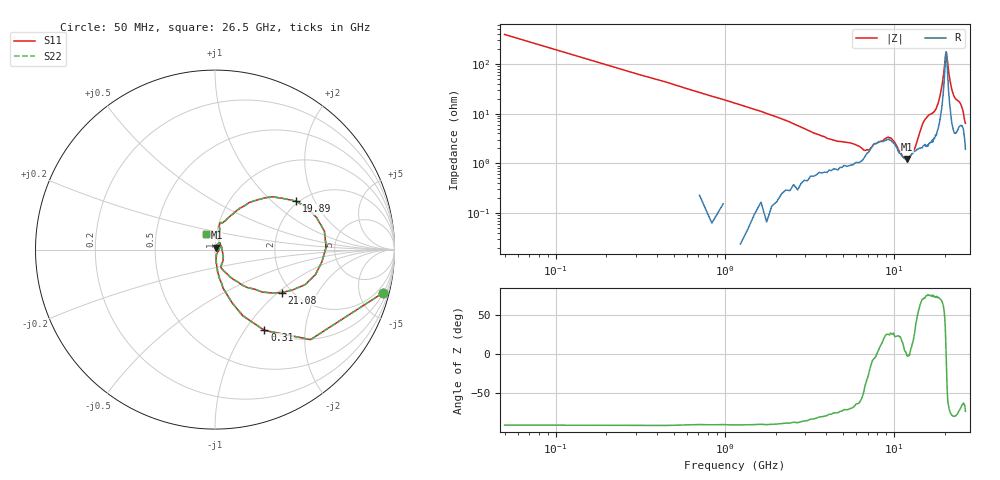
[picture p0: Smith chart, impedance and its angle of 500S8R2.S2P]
!  American Technical Ceramics  Date:  3/6/98
!  One Norden Lane
!  Huntington Station,  NY.  11746-2102
!  Tel:  (516) 547-5700  Fax:  (516) 547-5748
!  Part Number  500S8R2
!  Description: Broadband Microwave capacitor
!  Application:
# GHZ S DB R 50
! Freq  |S11|  S11 Ph  |S21|  S21 Ph  |S12|  S12 Ph  |S22|  S22 Ph
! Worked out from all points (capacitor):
!   201 points, 50 MHz to 26.5 GHz, reference 50 ohm
!   read as one part in series: C = 8.25 pF near 180 MHz
!   lowest |Z| = 1.23 ohm at 11.95 GHz (marker M1)
!   series resonance near 7.93 GHz, so ESL is about 49 pH
!   S11 on the Smith chart (normalised r, x): 50 MHz: 1.04, -7.78; 310 MHz: 0.99, -1.24; 19.89 GHz: 1.93, +1.44; 21.08 GHz: 1.79, -1.07; 26.5 GHz: 0.89, +0.15
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0.05  -0.29 -14.4  -12.22 75.8  -12.22 75.8  -0.29 -14.4
0.18  -2.72 -43.3  -3.32 47.2  -3.32 47.2  -2.72 -43.3
0.31  -5.56 -58.5  -1.39 31.8  -1.39 31.8  -5.56 -58.5
0.84  -13.20 -78.3  -0.26 12.7  -0.26 12.7  -13.20 -78.3
1.9  -20.64 -83.9  -0.05 5.3  -0.05 5.3  -20.64 -83.9
3.36  -27.46 -81.2  -0.06 2.2  -0.06 2.2  -27.46 -81.2
4.55  -28.66 -78.7  -0.08 1.0  -0.08 1.0  -28.66 -78.7
6.13  -28.61 -78.4  -0.12 0.2  -0.12 0.2  -28.61 -78.4
7.32  -33.77 -37.2  -0.20 -0.2  -0.20 -0.2  -33.77 -37.2
8.91  -28.51 42.5  -0.25 0.1  -0.25 0.1  -28.51 42.5
9.97  -27.81 57.1  -0.24 0.6  -0.24 0.6  -27.81 57.1
11.95  -37.54 51.7  -0.14 0.7  -0.14 0.7  -37.54 51.7
13.28  -31.16 48.1  -0.14 0.2  -0.14 0.2  -31.16 48.1
15.13  -18.82 77.1  -0.24 -1.1  -0.24 -1.1  -18.82 77.1
17.77  -15.95 73.0  -0.40 -4.0  -0.40 -4.0  -15.95 73.0
19.09  -10.64 56.1  -1.19 -12.5  -1.19 -12.5  -10.64 56.1
19.89  -5.58 30.9  -4.25 -22.1  -4.25 -22.1  -5.58 30.9
20.42  -4.16 1.3  -9.02 7.2  -9.02 7.2  -4.16 1.3
21.08  -7.05 -32.6  -3.32 33.1  -3.32 33.1  -7.05 -32.6
22.14  -15.16 -61.0  -1.00 21.2  -1.00 21.2  -15.16 -61.0
25.18  -28.06 6.5  -0.64 14.3  -0.64 14.3  -28.06 6.5
26.5  -20.04 120.9  -0.67 12.7  -0.67 12.7  -20.04 120.9
